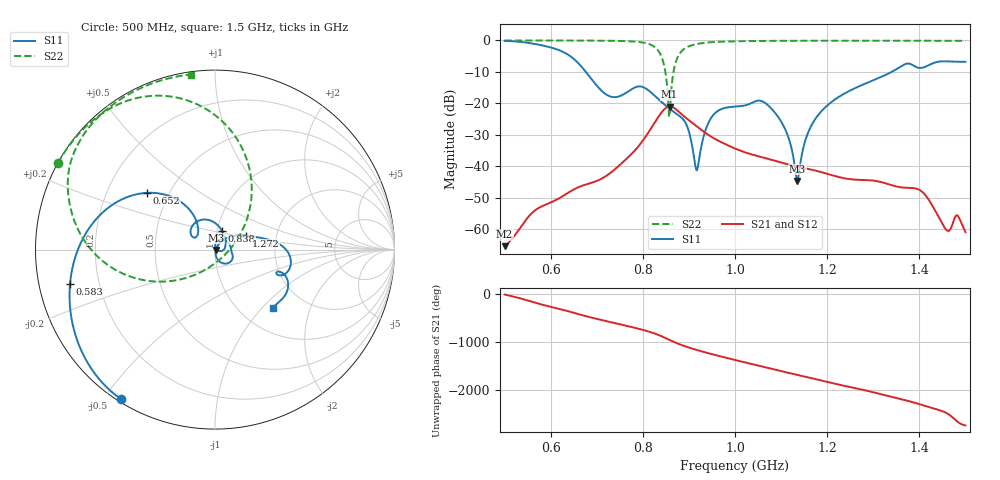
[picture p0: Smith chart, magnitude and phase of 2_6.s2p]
! TOUCHSTONE file generated by CST MICROWAVE STUDIO
! Date and time: Sat Oct 24 11:42:36 2020
! Project name: Scenario_1_Circular_Tissue_out_of_Line.cst
! Parameters = {dy1=-328.659; L_HA=400; MT=2.54; Rad_Dielectric=30; Rad_Lower=7.3; Rad_Upper=30; a_HA=580; a_WG=246; b_HA=500; b_WG=121; c_HA=0; c_WG=187; d_feed=85; dx1=1039; h_feed=15; h_lower=18; h_upper=40}
! Header version: 2018
! Port assignment regex: !\s*Touchstone port\s*([0-9]+)\s*=\s*(CST MWS port|CST DS port)\s*([0-9]+|Zmin|Zmax)\s*\(\"(.*)\"\)(\s*mode\s*([0-9]+))?.*
! Touchstone port assignment:
! Touchstone port 1 = CST MWS port 1 ("")
! Touchstone port 2 = CST MWS port 2 ("")
# GHz S DB R 50
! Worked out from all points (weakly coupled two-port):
!   1001 points, 500 MHz to 1.5 GHz, reference 50 ohm
!   highest |S21| = -21.01 dB at 858 MHz (marker M1); lowest = -65.4 dB at 500 MHz (marker M2)
!   lowest |S11| = -44.6 dB at 1.135 GHz (marker M3), VSWR 1.01, Z = 50.6 - j0.185 ohm
!   |S11| at or under -10 dB: 676.4 MHz to 1.34 GHz (663.6 MHz wide, 65.8 % of centre)
!   |S22| runs from -24.2 to 0.0 dB; largest |S21 - S12| = 2.7e-05
!   S11 on the Smith chart (normalised r, x): 500 MHz: 0.01, -0.55; 583 MHz: 0.09, -0.12; 652 MHz: 0.38, +0.32; 838 MHz: 1.06, +0.22; 1.272 GHz: 1.40, +0.23; 1.5 GHz: 1.40, -1.15
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0.5  -0.14 -122.3  -65.39 -21.1  -65.39 -21.1  -0.01 151.1
0.583  -1.62 -166.7  -52.57 125.4  -52.57 125.4  -0.02 145.4
0.652  -6.11 140.3  -47.22 -44.3  -47.22 -44.3  -0.03 139.8
0.667  -8.35 129.6  -46.24 -84.9  -46.24 -84.9  -0.04 138.4
0.727  -17.69 136.8  -42.39 136.3  -42.39 136.3  -0.10 131.3
0.779  -15.21 141.3  -35.55 17.8  -35.55 17.8  -0.33 120.6
0.834  -18.68 72.6  -24.23 -139.5  -24.23 -139.5  -3.37 83.3
0.838  -19.21 68.6  -23.39 -155.0  -23.39 -155.0  -4.36 76.8
0.858  -21.70 48.6  -21.01 116.6  -21.01 116.6  -24.24 -64.1
0.877  -23.74 26.0  -22.53 36.6  -22.53 36.6  -4.91 -168.7
0.917  -41.29 35.9  -27.31 -90.6  -27.31 -90.6  -1.14 159.0
0.948  -24.67 66.1  -30.56 -172.9  -30.56 -172.9  -0.56 149.4
1  -21.03 5.0  -34.35 61.5  -34.35 61.5  -0.27 140.2
1.081  -21.98 -64.9  -38.00 -124.8  -38.00 -124.8  -0.14 131.4
1.113  -29.66 -81.5  -39.33 162.3  -39.33 162.3  -0.12 128.6
1.135  -44.65 -18.2  -40.11 112.8  -40.11 112.8  -0.11 126.7
1.167  -26.72 53.4  -41.10 39.4  -41.10 39.4  -0.10 124.2
1.272  -14.40 24.0  -44.33 175.7  -44.33 175.7  -0.08 116.2
1.334  -10.45 10.8  -45.74 30.3  -45.74 30.3  -0.09 111.5
1.401  -8.75 -20.7  -47.56 -137.5  -47.55 -137.5  -0.10 106.2
1.459  -6.65 -35.6  -60.26 41.8  -60.26 41.8  -0.11 101.4
1.5  -6.77 -45.1  -60.90 144.0  -60.97 143.4  -0.13 97.9
